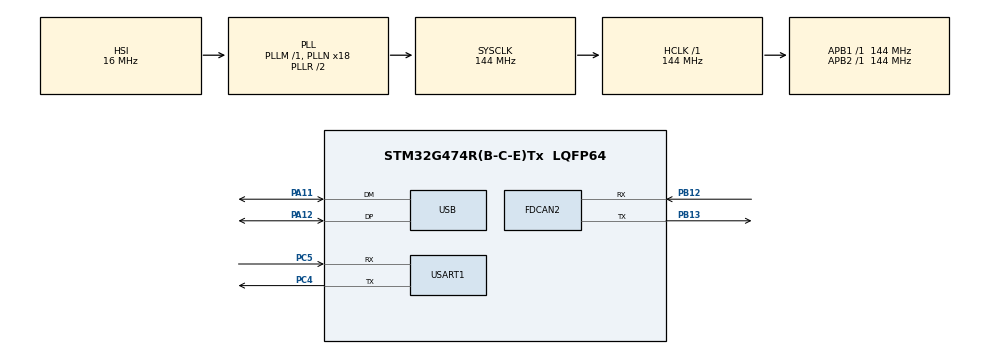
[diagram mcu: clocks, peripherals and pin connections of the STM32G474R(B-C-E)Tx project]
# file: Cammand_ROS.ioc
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FDCAN2.CalculateBaudRateNominal=1000000
FDCAN2.CalculateTimeBitNominal=1000
FDCAN2.CalculateTimeQuantumNominal=111.11111111111111
FDCAN2.NominalPrescaler=16
FDCAN2.NominalTimeSeg1=6
FDCAN2.NominalTimeSeg2=2
Mcu.Family=STM32G4
Mcu.Name=STM32G474R(B-C-E)Tx
Mcu.Package=LQFP64
NVIC.FDCAN2_IT0_IRQn=true\:0\:0\:false\:false\:true\:true\:true\:true
NVIC.PriorityGroup=NVIC_PRIORITYGROUP_4
NVIC.USART1_IRQn=true\:0\:0\:false\:false\:true\:true\:true\:true
NVIC.USB_LP_IRQn=true\:0\:0\:false\:false\:true\:false\:true\:true
PA11.Mode=Device
PA11.Signal=USB_DM
PA12.Mode=Device
PA12.Signal=USB_DP
PA13.Mode=Serial_Wire
PA13.Signal=SYS_JTMS-SWDIO
PA14.Mode=Serial_Wire
PA14.Signal=SYS_JTCK-SWCLK
PB12.Mode=FDCAN_Activate
PB12.Signal=FDCAN2_RX
PB13.Mode=FDCAN_Activate
PB13.Signal=FDCAN2_TX
PC4.Mode=Asynchronous
PC4.Signal=USART1_TX
PC5.Mode=Asynchronous
PC5.Signal=USART1_RX
PF0-OSC_IN.Mode=HSE-External-Oscillator
PF0-OSC_IN.Signal=RCC_OSC_IN
PF1-OSC_OUT.Mode=HSE-External-Oscillator
PF1-OSC_OUT.Signal=RCC_OSC_OUT
ProjectManager.HeapSize=0x200
ProjectManager.StackSize=0x400
ProjectManager.TargetToolchain=STM32CubeIDE
RCC.ADC12Freq_Value=144000000
RCC.ADC345Freq_Value=144000000
RCC.AHBFreq_Value=144000000
RCC.APB1Freq_Value=144000000
RCC.APB1TimFreq_Value=144000000
RCC.APB2Freq_Value=144000000
RCC.APB2TimFreq_Value=144000000
RCC.CortexFreq_Value=144000000
RCC.EXTERNAL_CLOCK_VALUE=12288000
RCC.HCLKFreq_Value=144000000
RCC.HSE_VALUE=25000000
RCC.HSI48_VALUE=48000000
RCC.HSI_VALUE=16000000
RCC.LSE_VALUE=32768
RCC.PLLN=18
RCC.PLLQ=RCC_PLLQ_DIV6
RCC.SYSCLKFreq_VALUE=144000000
RCC.SYSCLKSource=RCC_SYSCLKSOURCE_PLLCLK
RCC.USBFreq_Value=48000000
RCC.VCOOutputFreq_Value=288000000
USART1.VirtualMode-Asynchronous=VM_ASYNC
USB_DEVICE.CLASS_NAME_FS=CDC
USB_DEVICE.VirtualMode=Cdc
USB_DEVICE.VirtualModeFS=Cdc_FS
VP_SYS_VS_DBSignals.Mode=DisableDeadBatterySignals
VP_USB_DEVICE_VS_USB_DEVICE_CDC_FS.Mode=CDC_FS
board=custom

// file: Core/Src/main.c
/* USER CODE BEGIN Header */
/**
  ******************************************************************************
  * @file           : main.c
  * @brief          : Main program body
  ******************************************************************************
  * @attention
  *
  * Copyright (c) 2025 STMicroelectronics.
  * All rights reserved.
  *
  * This software is licensed under terms that can be found in the LICENSE file
  * in the root directory of this software component.
  * If no LICENSE file comes with this software, it is provided AS-IS.
  *
  ******************************************************************************
  */
/* USER CODE END Header */
#include "main.h"
#include "usb_device.h"

/* USER CODE BEGIN Includes */
#include "CAN/can.h"
#include "uart/uart.h"
#include "pid/pid.h"
#include "Robot_movement/Robot_base_movement.h"
/* USER CODE END Includes */

/* USER CODE BEGIN PTD */
pid_t Con_M1;
pid_t Con_M2;
pid_t Con_M3;
pid_t Con_M4;
/* USER CODE END PTD */

FDCAN_HandleTypeDef hfdcan2;

UART_HandleTypeDef huart1;

/* USER CODE BEGIN PV */
uint8_t usb_buf_rx[64]={0};
uint8_t Data_USB_TX[]={"Hello ROS !!"};

uint8_t Data_uart_1[1]={0};
int16_t data_com[4]={0};

int16_t  Vx=0;
int16_t  Vy=0;
int16_t  Vw=0;
int16_t  Vl=0;
int16_t  Vs=0;

float Z_angle, X_angle, Y_angle, Pos_X, Pos_Y, W_z;

//Can global variable

int16_t Speed_receiving[3]={0};
int16_t Speed_measure[8]={0};
int16_t  Set_speed_M[8] = {0};

int16_t  Wheels_motor_speed[3]={0};
//PID gain
// BIG
const double maxout= 15000.f ;
const double intergral_limit= 15000.f ;

const double kp= 10.f ;
const double ki= 6.f ;
const double kd= 20.f ;
/* USER CODE END PV */

void SystemClock_Config(void);
static void MX_GPIO_Init(void);
static void MX_FDCAN2_Init(void);
static void MX_USART1_UART_Init(void);

/* USER CODE BEGIN 0 */
void Decoding(){

	Vx= (usb_buf_rx[2]<<8 | usb_buf_rx[3]<<0);
	Vy= (usb_buf_rx[4]<<8 | usb_buf_rx[5]<<0);
	Vw= (usb_buf_rx[6]<<8 | usb_buf_rx[7]<<0);

}

void encoding(){

}
/* USER CODE END 0 */

int main(void)
{

  /* MCU Configuration--------------------------------------------------------*/

  /* Reset of all peripherals, Initializes the Flash interface and the Systick. */
  HAL_Init();

  /* USER CODE BEGIN Init */
  PID_struct_init(&Con_M1 ,POSITION_PID,maxout,intergral_limit,kp,ki,kd);
  PID_struct_init(&Con_M2 ,POSITION_PID,maxout,intergral_limit,kp,ki,kd);
  PID_struct_init(&Con_M3 ,POSITION_PID,maxout,intergral_limit,kp,ki,kd);
  PID_struct_init(&Con_M4 ,POSITION_PID,maxout,intergral_limit,kp,ki,kd);
  /* USER CODE END Init */

  /* Configure the system clock */
  SystemClock_Config();

  /* Initialize all configured peripherals */
  MX_GPIO_Init();
  MX_FDCAN2_Init();
  MX_USART1_UART_Init();
  MX_USB_Device_Init();
  /* USER CODE BEGIN 2 */
  UART_Init();
  CAN_INIT();
  Robot_base_movement_init();

  Axis_speed_param My_robot_each_axis_speed = {

  			.VX=0,
  			.VY=0,
  			.VW=0,
  			.Z_ANGLE=0

  	  };

  Equation_mode_param My_robot_current_mode = {

  			.equation_mode=0

  	  };

  /* USER CODE END 2 */

  /* Infinite loop */
  /* USER CODE BEGIN WHILE */
  while (1)
  {

	    Decoding();

	    if(usb_buf_rx[1]==1){
	    	HAL_UART_Transmit(&huart1, (uint8_t*)"ACT0", 4, HAL_MAX_DELAY);
	    }

	    My_robot_each_axis_speed.VX = -Vy;
	    My_robot_each_axis_speed.VY = -Vx;
	    My_robot_each_axis_speed.VW = Vw;

	    My_robot_each_axis_speed.Z_ANGLE = -Z_angle;
	    My_robot_current_mode.equation_mode=usb_buf_rx[0];

	    Set_speed_M[0] = pid_calc(&Con_M1,Speed_measure[0],Wheels_motor_speed[0]);
		Set_speed_M[1] = pid_calc(&Con_M2,Speed_measure[1],Wheels_motor_speed[1]);
		Set_speed_M[2] = pid_calc(&Con_M3,Speed_measure[2],Wheels_motor_speed[2]);

		Robot_base_movement_start(&My_robot_each_axis_speed, &My_robot_current_mode);
		//Transmitting via can bus

		CAN_tran();

    /* USER CODE END WHILE */

  }
}

void SystemClock_Config(void)
{
  RCC_OscInitTypeDef RCC_OscInitStruct = {0};
  RCC_ClkInitTypeDef RCC_ClkInitStruct = {0};

  /** Configure the main internal regulator output voltage
  */
  HAL_PWREx_ControlVoltageScaling(PWR_REGULATOR_VOLTAGE_SCALE1);

  /** Initializes the RCC Oscillators according to the specified parameters
  * in the RCC_OscInitTypeDef structure.
  */
  RCC_OscInitStruct.OscillatorType = RCC_OSCILLATORTYPE_HSI;
  RCC_OscInitStruct.HSIState = RCC_HSI_ON;
  RCC_OscInitStruct.HSICalibrationValue = RCC_HSICALIBRATION_DEFAULT;
  RCC_OscInitStruct.PLL.PLLState = RCC_PLL_ON;
  RCC_OscInitStruct.PLL.PLLSource = RCC_PLLSOURCE_HSI;
  RCC_OscInitStruct.PLL.PLLM = RCC_PLLM_DIV1;
  RCC_OscInitStruct.PLL.PLLN = 18;
  RCC_OscInitStruct.PLL.PLLP = RCC_PLLP_DIV2;
  RCC_OscInitStruct.PLL.PLLQ = RCC_PLLQ_DIV6;
  RCC_OscInitStruct.PLL.PLLR = RCC_PLLR_DIV2;
  if (HAL_RCC_OscConfig(&RCC_OscInitStruct) != HAL_OK)
  {
    Error_Handler();
  }

  /** Initializes the CPU, AHB and APB buses clocks
  */
  RCC_ClkInitStruct.ClockType = RCC_CLOCKTYPE_HCLK|RCC_CLOCKTYPE_SYSCLK
                              |RCC_CLOCKTYPE_PCLK1|RCC_CLOCKTYPE_PCLK2;
  RCC_ClkInitStruct.SYSCLKSource = RCC_SYSCLKSOURCE_PLLCLK;
  RCC_ClkInitStruct.AHBCLKDivider = RCC_SYSCLK_DIV1;
  RCC_ClkInitStruct.APB1CLKDivider = RCC_HCLK_DIV1;
  RCC_ClkInitStruct.APB2CLKDivider = RCC_HCLK_DIV1;

  if (HAL_RCC_ClockConfig(&RCC_ClkInitStruct, FLASH_LATENCY_4) != HAL_OK)
  {
    Error_Handler();
  }
}

static void MX_FDCAN2_Init(void)
{

  hfdcan2.Instance = FDCAN2;
  hfdcan2.Init.ClockDivider = FDCAN_CLOCK_DIV1;
  hfdcan2.Init.FrameFormat = FDCAN_FRAME_CLASSIC;
  hfdcan2.Init.Mode = FDCAN_MODE_NORMAL;
  hfdcan2.Init.AutoRetransmission = DISABLE;
  hfdcan2.Init.TransmitPause = DISABLE;
  hfdcan2.Init.ProtocolException = DISABLE;
  hfdcan2.Init.NominalPrescaler = 16;
  hfdcan2.Init.NominalSyncJumpWidth = 1;
  hfdcan2.Init.NominalTimeSeg1 = 6;
  hfdcan2.Init.NominalTimeSeg2 = 2;
  hfdcan2.Init.DataPrescaler = 1;
  hfdcan2.Init.DataSyncJumpWidth = 1;
  hfdcan2.Init.DataTimeSeg1 = 1;
  hfdcan2.Init.DataTimeSeg2 = 1;
  hfdcan2.Init.StdFiltersNbr = 0;
  hfdcan2.Init.ExtFiltersNbr = 0;
  hfdcan2.Init.TxFifoQueueMode = FDCAN_TX_FIFO_OPERATION;
  if (HAL_FDCAN_Init(&hfdcan2) != HAL_OK)
  {
    Error_Handler();
  }

}

static void MX_USART1_UART_Init(void)
{

  huart1.Instance = USART1;
  huart1.Init.BaudRate = 115200;
  huart1.Init.WordLength = UART_WORDLENGTH_8B;
  huart1.Init.StopBits = UART_STOPBITS_1;
  huart1.Init.Parity = UART_PARITY_NONE;
  huart1.Init.Mode = UART_MODE_TX_RX;
  huart1.Init.HwFlowCtl = UART_HWCONTROL_NONE;
  huart1.Init.OverSampling = UART_OVERSAMPLING_16;
  huart1.Init.OneBitSampling = UART_ONE_BIT_SAMPLE_DISABLE;
  huart1.Init.ClockPrescaler = UART_PRESCALER_DIV1;
  huart1.AdvancedInit.AdvFeatureInit = UART_ADVFEATURE_NO_INIT;
  if (HAL_UART_Init(&huart1) != HAL_OK)
  {
    Error_Handler();
  }
  if (HAL_UARTEx_SetTxFifoThreshold(&huart1, UART_TXFIFO_THRESHOLD_1_8) != HAL_OK)
  {
    Error_Handler();
  }
  if (HAL_UARTEx_SetRxFifoThreshold(&huart1, UART_RXFIFO_THRESHOLD_1_8) != HAL_OK)
  {
    Error_Handler();
  }
  if (HAL_UARTEx_DisableFifoMode(&huart1) != HAL_OK)
  {
    Error_Handler();
  }

}

static void MX_GPIO_Init(void)
{

  /* GPIO Ports Clock Enable */
  __HAL_RCC_GPIOF_CLK_ENABLE();
  __HAL_RCC_GPIOC_CLK_ENABLE();
  __HAL_RCC_GPIOB_CLK_ENABLE();
  __HAL_RCC_GPIOA_CLK_ENABLE();

}

void Error_Handler(void)
{
  __disable_irq();
  while (1)
  {
  }
}
